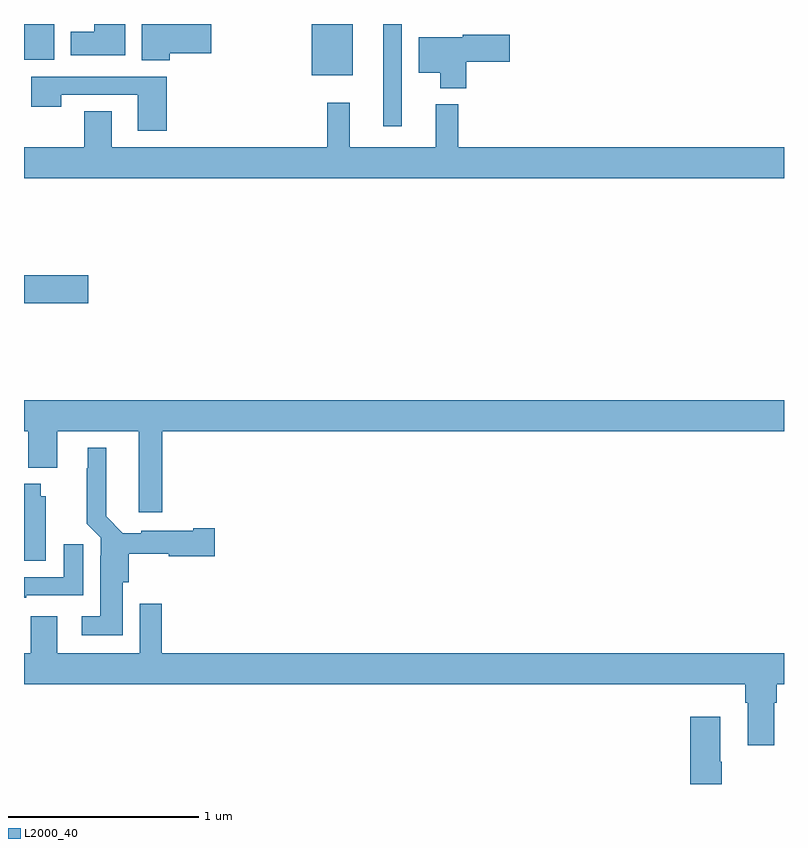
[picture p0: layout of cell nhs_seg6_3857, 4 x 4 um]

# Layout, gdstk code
import gdstk
lib = gdstk.Library(unit=1e-6, precision=1e-09)
def R(c, l, rs):  # rectangles x0, y0, x1, y1
    for r in rs: c.add(gdstk.rectangle(r[:2], r[2:], *l))
def P(c, l, *ps):  # polygons
    for p in ps: c.add(gdstk.Polygon(p, *l))
L2000_40 = (2000, 40)

nhs_seg6_3857 = lib.new_cell('nhs_seg6_3857')
R(nhs_seg6_3857, L2000_40, [(339,928.031,339.337,928.178), (340.892,928.962,340.989,929.5), (340.514,929.231,340.729,929.5), (339,929.312,339.16,929.5)])
P(nhs_seg6_3857, L2000_40, [(339.767,929.345),(339.985,929.345),(339.985,929.5),(339.62,929.5),(339.62,929.308),(339.767,929.308)],
  [(339.532,929.5),(339.371,929.5),(339.371,929.458),(339.245,929.458),(339.245,929.336),(339.532,929.336)],
  [(341.327,929.302),(341.557,929.302),(341.557,929.444),(341.31,929.444),(341.31,929.431),(341.078,929.431),(341.078,929.243),(341.192,929.243),(341.192,929.162),(341.327,929.162)],
  [(339.752,929.223),(339.039,929.223),(339.039,929.064),(339.195,929.064),(339.195,929.127),(339.599,929.127),(339.599,928.938),(339.752,928.938)],
  [(343,928.852),(341.285,928.852),(341.285,929.077),(341.168,929.077),(341.168,928.852),(340.715,928.852),(340.715,929.086),(340.597,929.086),(340.597,928.852),(339.463,928.852),(339.463,929.042),(339.316,929.042),(339.316,928.852),(339,928.852),(339,928.688),(343,928.688)],
  [(339.728,927.356),(343,927.356),(343,927.52),(339,927.52),(339,927.356),(339.023,927.356),(339.023,927.164),(339.175,927.164),(339.175,927.356),(339.605,927.356),(339.605,926.931),(339.728,926.931)],
  [(339.52,926.562),(339.551,926.562),(339.551,926.711),(339.762,926.711),(339.762,926.699),(340.003,926.699),(340.003,926.846),(339.89,926.846),(339.89,926.833),(339.618,926.833),(339.618,926.821),(339.519,926.821),(339.433,926.908),(339.433,927.271),(339.335,927.271),(339.335,927.161),(339.331,927.161),(339.331,926.87),(339.405,926.796),(339.405,926.702),(339.401,926.702),(339.401,926.383),(339.303,926.383),(339.303,926.282),(339.52,926.282)],
  [(339.115,927.015),(339.088,927.015),(339.088,927.079),(339,927.079),(339,926.674),(339.115,926.674)],
  [(339.013,926.493),(339.313,926.493),(339.313,926.761),(339.209,926.761),(339.209,926.589),(339,926.589),(339,926.481),(339.013,926.481)],
  [(342.949,925.928),(342.962,925.928),(342.962,926.024),(343,926.024),(343,926.188),(339.725,926.188),(339.725,926.449),(339.609,926.449),(339.609,926.188),(339.175,926.188),(339.175,926.383),(339.035,926.383),(339.035,926.188),(339,926.188),(339,926.024),(342.797,926.024),(342.797,925.928),(342.809,925.928),(342.809,925.704),(342.949,925.704)],
  [(342.672,925.616),(342.664,925.616),(342.664,925.855),(342.506,925.855),(342.506,925.5),(342.672,925.5)])

lib.write_gds('nhs_seg6_3857.gds')
